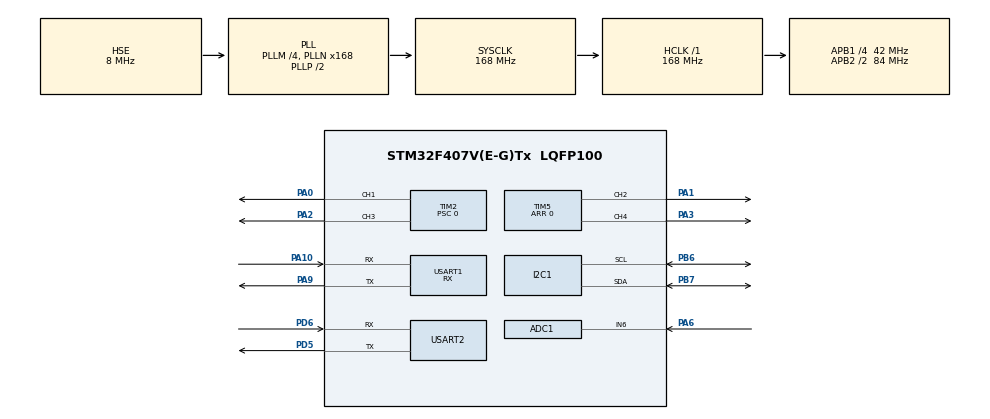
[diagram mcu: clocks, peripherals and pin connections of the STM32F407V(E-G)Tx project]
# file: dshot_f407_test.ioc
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ADC1.Channel-2\#ChannelRegularConversion=ADC_CHANNEL_6
ADC1.NbrOfConversionFlag=1
ADC1.Rank-2\#ChannelRegularConversion=1
ADC1.SamplingTime-2\#ChannelRegularConversion=ADC_SAMPLETIME_3CYCLES
ADC1.master=1
Dma.Request0=TIM2_CH1
Dma.Request1=TIM2_UP/CH3
Dma.Request2=TIM5_CH2
Dma.Request3=TIM5_CH4/TRIG
Dma.Request4=USART1_RX
Dma.TIM2_CH1.0.Direction=DMA_MEMORY_TO_PERIPH
Dma.TIM2_CH1.0.FIFOMode=DMA_FIFOMODE_ENABLE
Dma.TIM2_CH1.0.FIFOThreshold=DMA_FIFO_THRESHOLD_1QUARTERFULL
Dma.TIM2_CH1.0.Instance=DMA1_Stream5
Dma.TIM2_CH1.0.MemBurst=DMA_MBURST_SINGLE
Dma.TIM2_CH1.0.MemDataAlignment=DMA_MDATAALIGN_WORD
Dma.TIM2_CH1.0.MemInc=DMA_MINC_ENABLE
Dma.TIM2_CH1.0.Mode=DMA_NORMAL
Dma.TIM2_CH1.0.PeriphBurst=DMA_PBURST_SINGLE
Dma.TIM2_CH1.0.PeriphDataAlignment=DMA_PDATAALIGN_WORD
Dma.TIM2_CH1.0.PeriphInc=DMA_PINC_DISABLE
Dma.TIM2_CH1.0.Priority=DMA_PRIORITY_HIGH
Dma.TIM2_UP/CH3.1.Direction=DMA_MEMORY_TO_PERIPH
Dma.TIM2_UP/CH3.1.FIFOMode=DMA_FIFOMODE_ENABLE
Dma.TIM2_UP/CH3.1.FIFOThreshold=DMA_FIFO_THRESHOLD_1QUARTERFULL
Dma.TIM2_UP/CH3.1.Instance=DMA1_Stream1
Dma.TIM2_UP/CH3.1.MemBurst=DMA_MBURST_SINGLE
Dma.TIM2_UP/CH3.1.MemDataAlignment=DMA_MDATAALIGN_WORD
Dma.TIM2_UP/CH3.1.MemInc=DMA_MINC_ENABLE
Dma.TIM2_UP/CH3.1.Mode=DMA_NORMAL
Dma.TIM2_UP/CH3.1.PeriphBurst=DMA_PBURST_SINGLE
Dma.TIM2_UP/CH3.1.PeriphDataAlignment=DMA_PDATAALIGN_WORD
Dma.TIM2_UP/CH3.1.PeriphInc=DMA_PINC_DISABLE
Dma.TIM2_UP/CH3.1.Priority=DMA_PRIORITY_HIGH
Dma.TIM5_CH2.2.Direction=DMA_MEMORY_TO_PERIPH
Dma.TIM5_CH2.2.FIFOMode=DMA_FIFOMODE_ENABLE
Dma.TIM5_CH2.2.FIFOThreshold=DMA_FIFO_THRESHOLD_1QUARTERFULL
Dma.TIM5_CH2.2.Instance=DMA1_Stream4
Dma.TIM5_CH2.2.MemBurst=DMA_MBURST_SINGLE
Dma.TIM5_CH2.2.MemDataAlignment=DMA_MDATAALIGN_WORD
Dma.TIM5_CH2.2.MemInc=DMA_MINC_ENABLE
Dma.TIM5_CH2.2.Mode=DMA_NORMAL
Dma.TIM5_CH2.2.PeriphBurst=DMA_PBURST_SINGLE
Dma.TIM5_CH2.2.PeriphDataAlignment=DMA_PDATAALIGN_WORD
Dma.TIM5_CH2.2.PeriphInc=DMA_PINC_DISABLE
Dma.TIM5_CH2.2.Priority=DMA_PRIORITY_HIGH
Dma.TIM5_CH4/TRIG.3.Direction=DMA_MEMORY_TO_PERIPH
Dma.TIM5_CH4/TRIG.3.FIFOMode=DMA_FIFOMODE_ENABLE
Dma.TIM5_CH4/TRIG.3.FIFOThreshold=DMA_FIFO_THRESHOLD_1QUARTERFULL
Dma.TIM5_CH4/TRIG.3.Instance=DMA1_Stream3
Dma.TIM5_CH4/TRIG.3.MemBurst=DMA_MBURST_SINGLE
Dma.TIM5_CH4/TRIG.3.MemDataAlignment=DMA_MDATAALIGN_WORD
Dma.TIM5_CH4/TRIG.3.MemInc=DMA_MINC_ENABLE
Dma.TIM5_CH4/TRIG.3.Mode=DMA_NORMAL
Dma.TIM5_CH4/TRIG.3.PeriphBurst=DMA_PBURST_SINGLE
Dma.TIM5_CH4/TRIG.3.PeriphDataAlignment=DMA_PDATAALIGN_WORD
Dma.TIM5_CH4/TRIG.3.PeriphInc=DMA_PINC_DISABLE
Dma.TIM5_CH4/TRIG.3.Priority=DMA_PRIORITY_HIGH
Dma.USART1_RX.4.Direction=DMA_PERIPH_TO_MEMORY
Dma.USART1_RX.4.FIFOMode=DMA_FIFOMODE_DISABLE
Dma.USART1_RX.4.Instance=DMA2_Stream2
Dma.USART1_RX.4.MemDataAlignment=DMA_MDATAALIGN_BYTE
Dma.USART1_RX.4.MemInc=DMA_MINC_ENABLE
Dma.USART1_RX.4.Mode=DMA_NORMAL
Dma.USART1_RX.4.PeriphDataAlignment=DMA_PDATAALIGN_BYTE
Dma.USART1_RX.4.PeriphInc=DMA_PINC_DISABLE
Dma.USART1_RX.4.Priority=DMA_PRIORITY_LOW
I2C1.I2C_Mode=I2C_Fast
Mcu.Family=STM32F4
Mcu.Name=STM32F407V(E-G)Tx
Mcu.Package=LQFP100
NVIC.DMA1_Stream1_IRQn=true\:0\:0\:false\:false\:true\:false\:true
NVIC.DMA1_Stream3_IRQn=true\:0\:0\:false\:false\:true\:false\:true
NVIC.DMA1_Stream4_IRQn=true\:0\:0\:false\:false\:true\:false\:true
NVIC.DMA1_Stream5_IRQn=true\:0\:0\:false\:false\:true\:false\:true
NVIC.DMA2_Stream2_IRQn=true\:0\:0\:false\:false\:true\:false\:true
NVIC.PriorityGroup=NVIC_PRIORITYGROUP_4
NVIC.USART2_IRQn=true\:0\:0\:false\:false\:true\:true\:true
PA0-WKUP.Signal=S_TIM2_CH1_ETR
PA1.Signal=S_TIM5_CH2
PA10.Mode=Asynchronous
PA10.Signal=USART1_RX
PA13.Mode=Serial_Wire
PA13.Signal=SYS_JTMS-SWDIO
PA14.Mode=Serial_Wire
PA14.Signal=SYS_JTCK-SWCLK
PA2.Signal=S_TIM2_CH3
PA3.Signal=S_TIM5_CH4
PA6.Signal=ADCx_IN6
PA9.Mode=Asynchronous
PA9.Signal=USART1_TX
PB6.GPIO_Pu=GPIO_NOPULL
PB6.Mode=I2C
PB6.Signal=I2C1_SCL
PB7.GPIO_Pu=GPIO_NOPULL
PB7.Mode=I2C
PB7.Signal=I2C1_SDA
PD5.Mode=Asynchronous
PD5.Signal=USART2_TX
PD6.Mode=Asynchronous
PD6.Signal=USART2_RX
PH0-OSC_IN.Mode=HSE-External-Oscillator
PH0-OSC_IN.Signal=RCC_OSC_IN
PH1-OSC_OUT.Mode=HSE-External-Oscillator
PH1-OSC_OUT.Signal=RCC_OSC_OUT
ProjectManager.HeapSize=0x200
ProjectManager.StackSize=0x400
ProjectManager.TargetToolchain=STM32CubeIDE
RCC.48MHZClocksFreq_Value=84000000
RCC.AHBFreq_Value=168000000
RCC.APB1CLKDivider=RCC_HCLK_DIV4
RCC.APB1Freq_Value=42000000
RCC.APB1TimFreq_Value=84000000
RCC.APB2CLKDivider=RCC_HCLK_DIV2
RCC.APB2Freq_Value=84000000
RCC.APB2TimFreq_Value=168000000
RCC.CortexFreq_Value=168000000
RCC.HCLKFreq_Value=168000000
RCC.HSE_VALUE=8000000
RCC.HSI_VALUE=16000000
RCC.LSE_VALUE=32768
RCC.PLLM=4
RCC.PLLN=168
RCC.PLLSourceVirtual=RCC_PLLSOURCE_HSE
RCC.SYSCLKFreq_VALUE=168000000
RCC.SYSCLKSource=RCC_SYSCLKSOURCE_PLLCLK
RCC.VCOOutputFreq_Value=336000000
SH.ADCx_IN6.0=ADC1_IN6,IN6
SH.S_TIM2_CH1_ETR.0=TIM2_CH1,PWM Generation1 CH1
SH.S_TIM2_CH3.0=TIM2_CH3,PWM Generation3 CH3
SH.S_TIM5_CH2.0=TIM5_CH2,PWM Generation2 CH2
SH.S_TIM5_CH4.0=TIM5_CH4,PWM Generation4 CH4
TIM2.Channel-PWM\ Generation1\ CH1=TIM_CHANNEL_1
TIM2.Channel-PWM\ Generation3\ CH3=TIM_CHANNEL_3
TIM2.Period=0
TIM2.Prescaler=0
TIM5.Channel-PWM\ Generation2\ CH2=TIM_CHANNEL_2
TIM5.Channel-PWM\ Generation4\ CH4=TIM_CHANNEL_4
TIM5.Period=0
USART1.Mode=MODE_RX
USART1.VirtualMode=VM_ASYNC
USART2.VirtualMode=VM_ASYNC
VP_TIM2_VS_ClockSourceINT.Mode=Internal
VP_TIM5_VS_ClockSourceINT.Mode=Internal
board=custom

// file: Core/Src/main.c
/* USER CODE BEGIN Header */
/**
  ******************************************************************************
  * @file           : main.c
  * @brief          : Main program body
  ******************************************************************************
  * @attention
  *
  * <h2><center>&copy; Copyright (c) 2022 STMicroelectronics.
  * All rights reserved.</center></h2>
  *
  * This software component is licensed by ST under BSD 3-Clause license,
  * the "License"; You may not use this file except in compliance with the
  * License. You may obtain a copy of the License at:
  *                        opensource.org/licenses/BSD-3-Clause
  *
  ******************************************************************************
  */
/* USER CODE END Header */
#include "main.h"
#include "adc.h"
#include "dma.h"
#include "i2c.h"
#include "tim.h"
#include "usart.h"
#include "gpio.h"

/* USER CODE BEGIN Includes */
#include "dshot_telemetry.h"

#include "comm_obj.h"
#include "MPU9250.h"

/* USER CODE END Includes */

/* USER CODE BEGIN PV */
uint16_t my_motor_value[4] = {0, 0, 0, 0};
uint8_t my_motor_telemetry[4] = {0, 0, 0, 0};
DshotTelemetry_t telemetry;

//uint8_t state = 0;
//uint32_t lastTime = 0;
//uint32_t lastSecTime = 0;
//
//
//uint16_t my_motor_value1[4] = {0, 0, 0, 0};
//uint16_t my_motor_value2[4] = {100, 100, 100, 100};

float AccData[3];
float MagData[3];
float GyroData[3];
float TempData;

/* USER CODE END PV */

void SystemClock_Config(void);

int main(void)
{

  /* MCU Configuration--------------------------------------------------------*/

  /* Reset of all peripherals, Initializes the Flash interface and the Systick. */
  HAL_Init();

  /* Configure the system clock */
  SystemClock_Config();

  /* Initialize all configured peripherals */
  MX_GPIO_Init();
  MX_DMA_Init();
  MX_TIM2_Init();
  MX_TIM5_Init();
  MX_ADC1_Init();
  MX_USART1_UART_Init();
  MX_USART2_UART_Init();
  MX_I2C1_Init();
  /* USER CODE BEGIN 2 */

  //dshot_init(DSHOT600);
  //HAL_TIM_PWM_Start_DMA(&htim2, TIM_CHANNEL_1, (uint32_t*)buff, 3);
  //MPU9250_Init();

  initCommunication();
  HAL_Delay(1000);
  /* USER CODE END 2 */

  /* Infinite loop */
  /* USER CODE BEGIN WHILE */
//  lastTime = uwTick;
//  lastSecTime = uwTick;

  dshotTelemetryInit(&telemetry, &huart1);
  while (1)
  {
	  proceedIncommingMessage(uwTick);

//	  if(dshotReady()) {
//		  dshot_write(my_motor_value, telemetry.telemetryBits);
//	  }
	  dshotUpdateAll(&telemetry, my_motor_value, uwTick);

	  //dshotUpdateTelemetry(&telemetry, uwTick);

//	  if(uwTick != lastTime) {
//		  MPU9250_GetData(AccData, MagData, GyroData, &TempData);
//		  lastTime = uwTick;
//	  }

//	  if((uwTick - lastSecTime) > 1000) {
//		  my_motor_telemetry[0] = 1;
//		  lastSecTime = uwTick;
//	  }

//	  if(state == 0) {
//		  dshot_write(my_motor_value1);
//		  HAL_Delay(1);
//
//		  if((uwTick - lastTime) > 5000) {
//			  state = 1;
//			  lastTime = uwTick;
//			  continue;
//		  }
//	  } else {
//		  dshot_write(my_motor_value2);
//		  HAL_Delay(1);
//	  }

    /* USER CODE END WHILE */

  }
}

void SystemClock_Config(void)
{
  RCC_OscInitTypeDef RCC_OscInitStruct = {0};
  RCC_ClkInitTypeDef RCC_ClkInitStruct = {0};

  /** Configure the main internal regulator output voltage
  */
  __HAL_RCC_PWR_CLK_ENABLE();
  __HAL_PWR_VOLTAGESCALING_CONFIG(PWR_REGULATOR_VOLTAGE_SCALE1);
  /** Initializes the RCC Oscillators according to the specified parameters
  * in the RCC_OscInitTypeDef structure.
  */
  RCC_OscInitStruct.OscillatorType = RCC_OSCILLATORTYPE_HSE;
  RCC_OscInitStruct.HSEState = RCC_HSE_ON;
  RCC_OscInitStruct.PLL.PLLState = RCC_PLL_ON;
  RCC_OscInitStruct.PLL.PLLSource = RCC_PLLSOURCE_HSE;
  RCC_OscInitStruct.PLL.PLLM = 4;
  RCC_OscInitStruct.PLL.PLLN = 168;
  RCC_OscInitStruct.PLL.PLLP = RCC_PLLP_DIV2;
  RCC_OscInitStruct.PLL.PLLQ = 4;
  if (HAL_RCC_OscConfig(&RCC_OscInitStruct) != HAL_OK)
  {
    Error_Handler();
  }
  /** Initializes the CPU, AHB and APB buses clocks
  */
  RCC_ClkInitStruct.ClockType = RCC_CLOCKTYPE_HCLK|RCC_CLOCKTYPE_SYSCLK
                              |RCC_CLOCKTYPE_PCLK1|RCC_CLOCKTYPE_PCLK2;
  RCC_ClkInitStruct.SYSCLKSource = RCC_SYSCLKSOURCE_PLLCLK;
  RCC_ClkInitStruct.AHBCLKDivider = RCC_SYSCLK_DIV1;
  RCC_ClkInitStruct.APB1CLKDivider = RCC_HCLK_DIV4;
  RCC_ClkInitStruct.APB2CLKDivider = RCC_HCLK_DIV2;

  if (HAL_RCC_ClockConfig(&RCC_ClkInitStruct, FLASH_LATENCY_5) != HAL_OK)
  {
    Error_Handler();
  }
}

void Error_Handler(void)
{
  __disable_irq();
  while (1)
  {
  }
}

/************************ (C) COPYRIGHT STMicroelectronics *****END OF FILE****/
